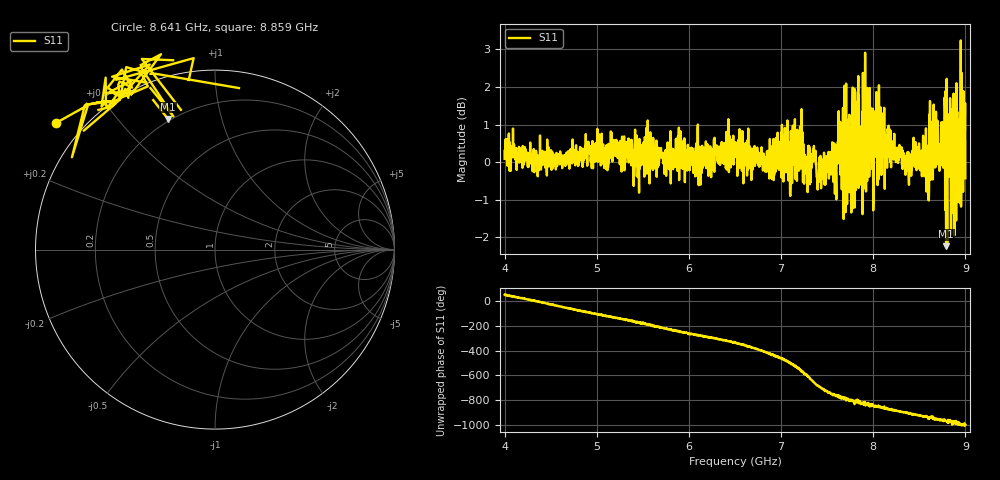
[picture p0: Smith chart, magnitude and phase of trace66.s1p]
! Created with skrf 1.8.0 (http://scikit-rf.org).
# Hz S RI R 50.0
!freq ReS11 ImS11
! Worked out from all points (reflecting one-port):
!   1601 points, 4 GHz to 9 GHz, reference 50 ohm
!   lowest |S11| = -2.2 dB at 8.791 GHz (marker M1), VSWR 7.83, Z = 9.47 + j34.3 ohm
!   phase of S11 starts at 51 deg and turns -1050 deg over the sweep
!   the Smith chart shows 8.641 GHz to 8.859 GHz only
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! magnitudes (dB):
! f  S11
! 4 GHz  0.1
! 4.625 GHz  -0.2
! 5.25 GHz  -0.1
! 5.875 GHz  -0.2
! 6.5 GHz  0.3
! 6.819 GHz  -0.1
! 7.125 GHz  0.8
! 7.209 GHz  0.3
! 7.262 GHz  0.0
! 7.353 GHz  0.2
! 7.412 GHz  -0.2
! 7.588 GHz  0.0
! 7.65 GHz  0.6
! 7.75 GHz  -0.4
! 7.788 GHz  -0.3
! 7.828 GHz  1.6
! 7.881 GHz  1.3
! 7.928 GHz  1.2
! 8 GHz  -1.3
! 8.056 GHz  -0.5
! 8.375 GHz  0.0
! 8.581 GHz  0.3
! 8.634 GHz  0.4
! 8.791 GHz  -2.2
! 8.834 GHz  1.7
! 8.869 GHz  -1.4
! 8.972 GHz  0.5
! 9 GHz  -0.4
